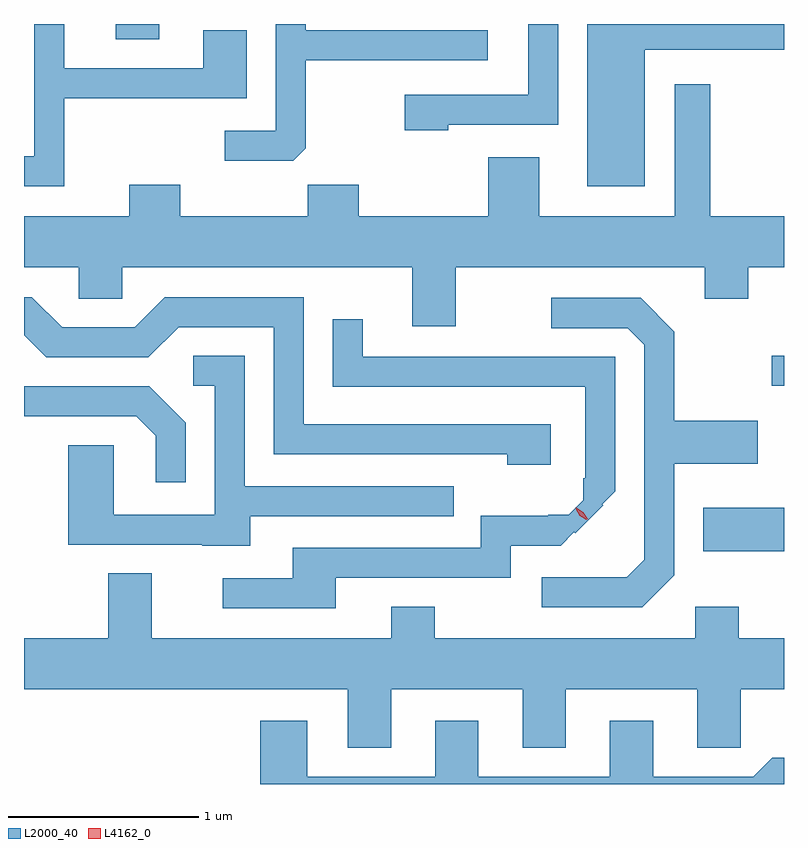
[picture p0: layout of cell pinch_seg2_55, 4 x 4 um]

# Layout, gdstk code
import gdstk
lib = gdstk.Library(unit=1e-6, precision=1e-09)
def R(c, l, rs):  # rectangles x0, y0, x1, y1
    for r in rs: c.add(gdstk.rectangle(r[:2], r[2:], *l))
def P(c, l, *ps):  # polygons
    for p in ps: c.add(gdstk.Polygon(p, *l))
L2000_40 = (2000, 40)
L4162_0 = (4162, 0)

pinch_seg2_55 = lib.new_cell('pinch_seg2_55')
R(pinch_seg2_55, L2000_40, [(1222.571,1064.581,1222.997,1064.809), (1222.933,1065.451,1222.997,1065.609), (1219.481,1067.276,1219.709,1067.356)])
P(pinch_seg2_55, L2000_40, [(1220.479,1066.702),(1220.479,1067.166),(1221.438,1067.166),(1221.438,1067.324),(1220.479,1067.324),(1220.479,1067.356),(1220.321,1067.356),(1220.321,1066.794),(1220.053,1066.794),(1220.053,1066.636),(1220.414,1066.636)],
  [(1221.229,1066.826),(1221.809,1066.826),(1221.809,1067.356),(1221.651,1067.356),(1221.651,1066.984),(1221.001,1066.984),(1221.001,1066.796),(1221.229,1066.796)],
  [(1219.209,1066.966),(1220.169,1066.966),(1220.169,1067.324),(1219.941,1067.324),(1219.941,1067.124),(1219.209,1067.124),(1219.209,1067.356),(1219.051,1067.356),(1219.051,1066.659),(1218.997,1066.659),(1218.997,1066.501),(1219.209,1066.501)],
  [(1222.264,1067.221),(1222.997,1067.221),(1222.997,1067.356),(1221.961,1067.356),(1221.961,1066.501),(1222.264,1066.501)],
  [(1221.269,1066.076),(1222.581,1066.076),(1222.581,1065.911),(1222.809,1065.911),(1222.809,1066.076),(1222.997,1066.076),(1222.997,1066.344),(1222.609,1066.344),(1222.609,1067.039),(1222.421,1067.039),(1222.421,1066.344),(1221.709,1066.344),(1221.709,1066.654),(1221.441,1066.654),(1221.441,1066.344),(1220.759,1066.344),(1220.759,1066.509),(1220.491,1066.509),(1220.491,1066.344),(1219.819,1066.344),(1219.819,1066.509),(1219.551,1066.509),(1219.551,1066.344),(1218.997,1066.344),(1218.997,1066.076),(1219.286,1066.076),(1219.286,1065.911),(1219.514,1065.911),(1219.514,1066.076),(1221.041,1066.076),(1221.041,1065.766),(1221.269,1065.766)],
  [(1221.769,1065.249),(1220.469,1065.249),(1220.469,1065.919),(1219.739,1065.919),(1219.579,1065.759),(1219.197,1065.759),(1219.037,1065.919),(1218.997,1065.919),(1218.997,1065.718),(1219.114,1065.601),(1219.652,1065.601),(1219.812,1065.761),(1220.311,1065.761),(1220.311,1065.091),(1221.541,1065.091),(1221.541,1065.036),(1221.769,1065.036)],
  [(1222.419,1064.454),(1222.419,1065.041),(1222.859,1065.041),(1222.859,1065.269),(1222.419,1065.269),(1222.419,1065.737),(1222.242,1065.914),(1221.773,1065.914),(1221.773,1065.756),(1222.174,1065.756),(1222.261,1065.669),(1222.261,1064.537),(1222.169,1064.444),(1221.723,1064.444),(1221.723,1064.286),(1222.252,1064.286)],
  [(1220.639,1064.441),(1221.559,1064.441),(1221.559,1064.611),(1221.821,1064.611),(1221.891,1064.682),(1221.897,1064.675),(1222.045,1064.823),(1222.04,1064.828),(1222.109,1064.898),(1222.109,1065.604),(1220.779,1065.604),(1220.779,1065.803),(1220.621,1065.803),(1220.621,1065.446),(1221.951,1065.446),(1221.951,1064.965),(1221.94,1064.965),(1221.94,1064.85),(1221.864,1064.774),(1221.755,1064.774),(1221.755,1064.769),(1221.401,1064.769),(1221.401,1064.599),(1220.411,1064.599),(1220.411,1064.439),(1220.043,1064.439),(1220.043,1064.281),(1220.639,1064.281)],
  [(1220.189,1064.766),(1221.258,1064.766),(1221.258,1064.924),(1220.159,1064.924),(1220.159,1065.609),(1219.888,1065.609),(1219.888,1065.451),(1220.001,1065.451),(1220.001,1064.774),(1219.469,1064.774),(1219.469,1065.139),(1219.231,1065.139),(1219.231,1064.616),(1219.935,1064.616),(1219.935,1064.611),(1220.189,1064.611)],
  [(1219.849,1065.257),(1219.657,1065.449),(1218.997,1065.449),(1218.997,1065.291),(1219.589,1065.291),(1219.691,1065.189),(1219.691,1064.943),(1219.849,1064.943)],
  [(1220.929,1063.856),(1221.621,1063.856),(1221.621,1063.546),(1221.849,1063.546),(1221.849,1063.856),(1222.541,1063.856),(1222.541,1063.546),(1222.769,1063.546),(1222.769,1063.856),(1222.997,1063.856),(1222.997,1064.124),(1222.759,1064.124),(1222.759,1064.289),(1222.531,1064.289),(1222.531,1064.124),(1221.159,1064.124),(1221.159,1064.289),(1220.931,1064.289),(1220.931,1064.124),(1219.669,1064.124),(1219.669,1064.464),(1219.441,1064.464),(1219.441,1064.124),(1218.997,1064.124),(1218.997,1063.856),(1220.701,1063.856),(1220.701,1063.546),(1220.929,1063.546)],
  [(1222.997,1063.494),(1222.934,1063.494),(1222.834,1063.394),(1222.309,1063.394),(1222.309,1063.689),(1222.081,1063.689),(1222.081,1063.394),(1221.389,1063.394),(1221.389,1063.689),(1221.161,1063.689),(1221.161,1063.394),(1220.489,1063.394),(1220.489,1063.689),(1220.241,1063.689),(1220.241,1063.356),(1222.997,1063.356)])
P(pinch_seg2_55, L4162_0, [(1221.966,1064.747),(1221.927,1064.773),(1221.901,1064.812),(1221.901,1064.813),(1221.902,1064.813),(1221.941,1064.787),(1221.967,1064.748),(1221.967,1064.747)],
  [(1221.957,1064.747),(1221.923,1064.769),(1221.902,1064.804),(1221.902,1064.805),(1221.902,1064.805),(1221.937,1064.783),(1221.958,1064.747),(1221.958,1064.747)])

lib.write_gds('pinch_seg2_55.gds')
